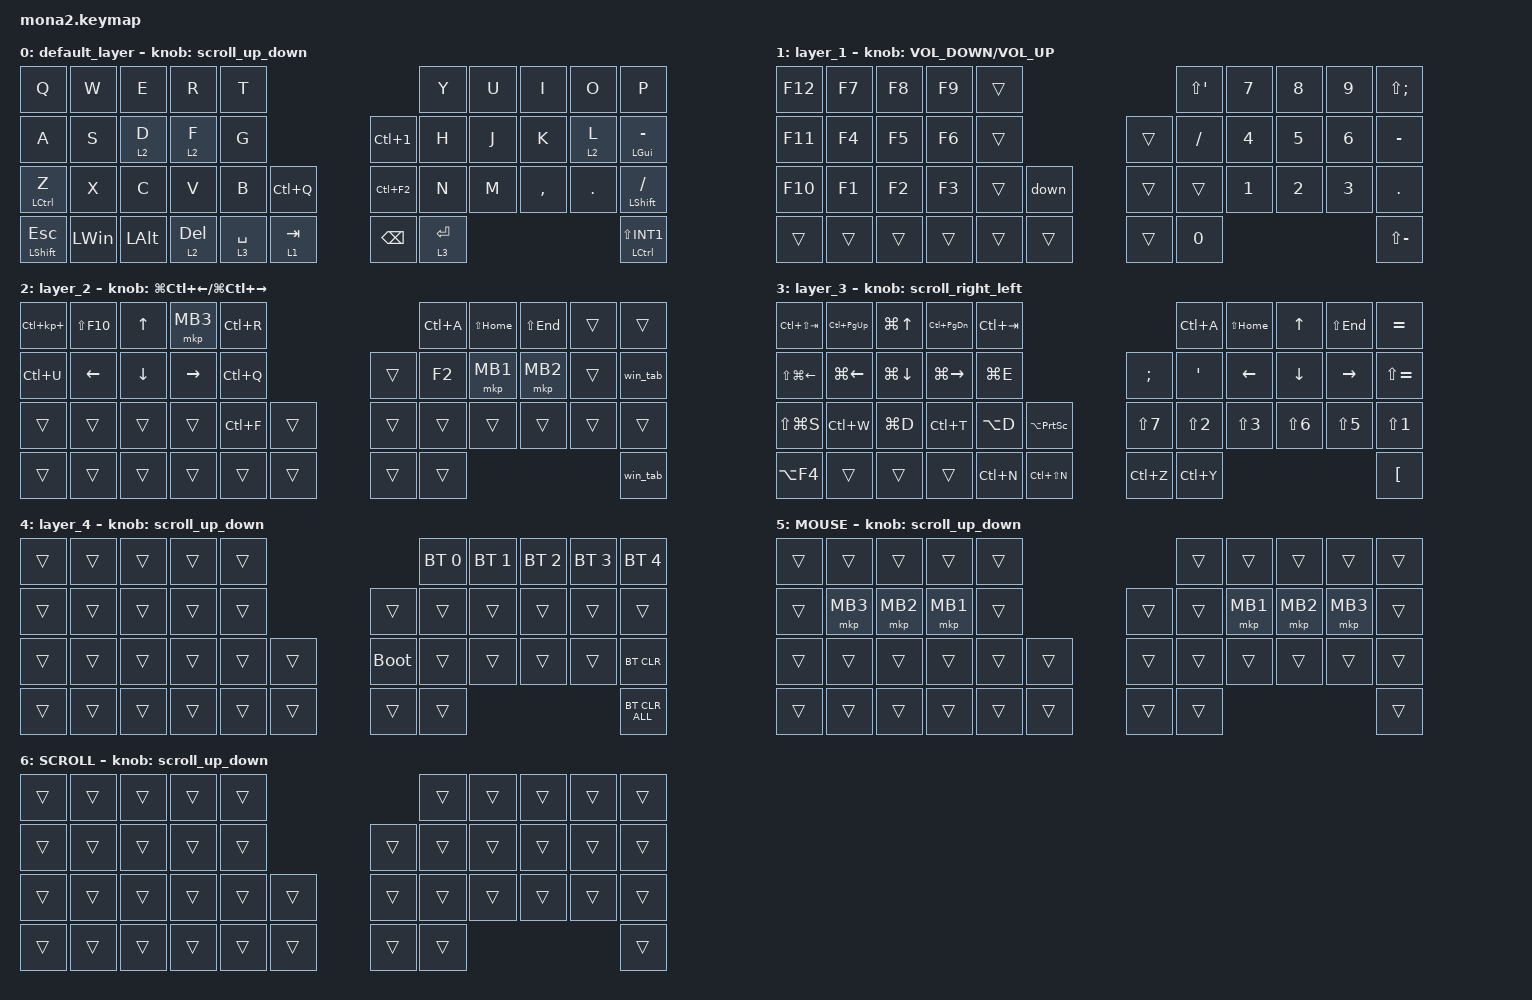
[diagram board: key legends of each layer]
#include <input/processors.dtsi>
#include <dt-bindings/zmk/input_transform.h>
#include <zephyr/dt-bindings/input/input-event-codes.h>
#include <behaviors.dtsi>
#include <dt-bindings/zmk/bt.h>
#include <dt-bindings/zmk/keys.h>
#include <dt-bindings/zmk/pointing.h>

#define ZMK_POINTING_DEFAULT_SCRL_VAL 100
#define MOUSE 5
#define SCROLL 6

&mt {
    flavor = "balanced";
    quick-tap-ms = <0>;
};

&lt {
    quick-tap-ms = <300>;
    flavor = "balanced";
};

/ {
    combos {
        compatible = "zmk,combos";

        layer4_ESC {
            bindings = <&lt 4 ESC>;
            key-positions = <39 38>;
        };

        tab {
            bindings = <&kp LEFT_ALT>;
            key-positions = <11 12>;
        };

        jp {
            bindings = <&kp LANG1>;
            key-positions = <17 18>;
            layers = <3>;
        };

        US {
            bindings = <&kp LANGUAGE_2>;
            key-positions = <18 19>;
            layers = <3>;
        };

        CAP {
            bindings = <&kp LS(CAPSLOCK)>;
            key-positions = <17 19>;
            layers = <3>;
        };

        home {
            bindings = <&kp HOME>;
            key-positions = <6 7>;
        };

        end {
            bindings = <&kp END>;
            key-positions = <7 8>;
        };

        esc {
            bindings = <&kp LC(LS(ESCAPE))>;
            key-positions = <1 2 3>;
        };

        win {
            bindings = <&kp LEFT_WIN>;
            key-positions = <12 13>;
        };

        page_down {
            bindings = <&kp PAGE_DOWN>;
            key-positions = <2 3>;
        };

        page_up {
            bindings = <&kp PAGE_UP>;
            key-positions = <2 1>;
        };

        cm {
            bindings = <&mkp MB3>;
            key-positions = <17 19>;
        };

        alt_tab {
            bindings = <&alt_tab>;
            key-positions = <18 17>;
            layers = <2>;
        };
    };

    macros {
        to_layer_0: to_layer_0 {
            compatible = "zmk,behavior-macro-one-param";
            #binding-cells = <1>;
            bindings = <&to 0 &macro_param_1to1 &kp MACRO_PLACEHOLDER>;
            label = "TO_LAYER_0";
        };

        down: down {
            compatible = "zmk,behavior-macro";
            #binding-cells = <0>;
            bindings =
                <&kp LG(X) &kp U &kp U &kp U>,
                <&macro_wait_time 1>,
                <&kp U>,
                <&macro_wait_time 1>,
                <&kp U>,
                <&macro_wait_time 1>,
                <&kp LG(X) &kp U &kp U>;

            label = "DOWN";
        };

        win_tab: win_tab {
            compatible = "zmk,behavior-macro";
            #binding-cells = <0>;
            bindings = <&kp LG(TAB)>, <&macro_pause_for_release>, <&mkp LCLK>;

            label = "WIN_TAB";
        };

        alt_tab: alt_tab {
            compatible = "zmk,behavior-macro";
            #binding-cells = <0>;
            bindings =
                <&macro_press>,
                <&kp LEFT_ALT>,
                <&macro_tap>,
                <&kp TAB>,
                <&macro_pause_for_release>,
                <&reries_alt>;

            label = "ALT_TAB";
        };

        reries_alt: reries_alt {
            compatible = "zmk,behavior-macro";
            #binding-cells = <0>;
            bindings =
                <&mkp LCLK>,
                <&macro_pause_for_release>,
                <&macro_release>,
                <&kp LEFT_ALT>;

            label = "RERIES_ALT";
        };
    };

    behaviors {
        lt_to_layer_0: lt_to_layer_0 {
            compatible = "zmk,behavior-hold-tap";
            label = "LAYER_TAP_TO_0";
            bindings = <&mo>, <&to_layer_0>;

            #binding-cells = <2>;
            tapping-term-ms = <200>;
        };

        scroll_up_down: mouse_wheel_up_down {
            compatible = "zmk,behavior-sensor-rotate";
            #sensor-binding-cells = <0>;
            bindings = <&msc SCRL_DOWN>, <&msc SCRL_UP>;

            tap-ms = <20>;
        };

        scroll_right_left: mouse_wheel_right_left {
            compatible = "zmk,behavior-sensor-rotate";
            #sensor-binding-cells = <0>;
            bindings = <&msc SCRL_LEFT>, <&msc SCRL_RIGHT>;

            tap-ms = <20>;
        };
    };

    keymap {
        compatible = "zmk,keymap";

        default_layer {
            bindings = <
&kp Q                  &kp W         &kp E         &kp R      &kp T                                       &kp Y        &kp U  &kp I      &kp O    &kp P
&kp A                  &kp S         &lt 2 D       &lt 2 F    &kp G                     &kp LC(NUMBER_1)  &kp H        &kp J  &kp K      &lt 2 L  &mt LEFT_GUI MINUS
&mt LCTRL Z            &kp X         &kp C         &kp V      &kp B        &kp LC(Q)    &kp LC(F2)        &kp N        &kp M  &kp COMMA  &kp DOT  &mt LEFT_SHIFT SLASH
&mt LEFT_SHIFT ESCAPE  &kp LEFT_WIN  &kp LEFT_ALT  &lt 2 DEL  &lt 3 SPACE  &lt 1 TAB    &kp BACKSPACE     &lt 3 ENTER                             &mt LCTRL LS(INT1)
            >;

            sensor-bindings = <&scroll_up_down>;
        };

        layer_1 {
            bindings = <
&kp F12  &kp F7  &kp F8  &kp F9  &trans                    &kp LS(SQT)   &kp NUMBER_7  &kp NUMBER_8  &kp NUMBER_9  &kp LS(SEMI)
&kp F11  &kp F4  &kp F5  &kp F6  &trans            &trans  &kp SLASH     &kp NUMBER_4  &kp NUMBER_5  &kp NUMBER_6  &kp MINUS
&kp F10  &kp F1  &kp F2  &kp F3  &trans  &down     &trans  &trans        &kp NUMBER_1  &kp NUMBER_2  &kp NUMBER_3  &kp PERIOD
&trans   &trans  &trans  &trans  &trans  &trans    &trans  &kp NUMBER_0                                            &kp LS(MINUS)
            >;

            sensor-bindings = <&inc_dec_kp C_VOLUME_DOWN C_VOLUME_UP>;
        };

        layer_2 {
            bindings = <
&kp LC(KP_PLUS)  &kp LS(F10)  &kp UP_ARROW  &mkp MB3   &kp LC(R)                    &kp LC(A)  &kp LS(HOME)  &kp LS(END)  &trans  &trans
&kp LC(U)        &kp LEFT     &kp DOWN      &kp RIGHT  &kp LC(Q)            &trans  &kp F2     &mkp MB1      &mkp MB2     &trans  &win_tab
&trans           &trans       &trans        &trans     &kp LC(F)  &trans    &trans  &trans     &trans        &trans       &trans  &trans
&trans           &trans       &trans        &trans     &trans     &trans    &trans  &trans                                        &win_tab
            >;

            sensor-bindings = <&inc_dec_kp LG(LC(LEFT)) LG(LC(RIGHT))>;
        };

        layer_3 {
            bindings = <
&kp LC(LS(TAB))   &kp LC(PAGE_UP)     &kp LG(UP_ARROW)    &kp LC(PAGE_DOWN)  &kp LC(TAB)                                           &kp LC(A)         &kp LS(HOME)      &kp UP_ARROW      &kp LS(END)       &kp EQUAL
&kp LS(LG(LEFT))  &kp LG(LEFT_ARROW)  &kp LG(DOWN_ARROW)  &kp LG(RIGHT)      &kp LG(E)                           &kp SEMICOLON     &kp APOSTROPHE    &kp LEFT_ARROW    &kp DOWN_ARROW    &kp RIGHT_ARROW   &kp LS(EQUAL)
&kp LS(LG(S))     &kp LC(W)           &kp LG(D)           &kp LC(T)          &kp LA(D)    &kp LA(PRINTSCREEN)    &kp LS(NUMBER_7)  &kp LS(NUMBER_2)  &kp LS(NUMBER_3)  &kp LS(NUMBER_6)  &kp LS(NUMBER_5)  &kp LS(NUMBER_1)
&kp LA(F4)        &trans              &trans              &trans             &kp LC(N)    &kp LC(LS(N))          &kp LC(Z)         &kp LC(Y)                                                               &kp LEFT_BRACKET
            >;

            sensor-bindings = <&scroll_right_left>;
        };

        layer_4 {
            bindings = <
&trans  &trans  &trans  &trans  &trans                         &bt BT_SEL 0  &bt BT_SEL 1  &bt BT_SEL 2  &bt BT_SEL 3  &bt BT_SEL 4
&trans  &trans  &trans  &trans  &trans            &trans       &trans        &trans        &trans        &trans        &trans
&trans  &trans  &trans  &trans  &trans  &trans    &bootloader  &trans        &trans        &trans        &trans        &bt BT_CLR
&trans  &trans  &trans  &trans  &trans  &trans    &trans       &trans                                                  &bt BT_CLR_ALL
            >;

            sensor-bindings = <&scroll_up_down>;
        };

        MOUSE {
            bindings = <
&trans  &trans    &trans    &trans    &trans                    &trans  &trans    &trans    &trans    &trans
&trans  &mkp MB3  &mkp MB2  &mkp MB1  &trans            &trans  &trans  &mkp MB1  &mkp MB2  &mkp MB3  &trans
&trans  &trans    &trans    &trans    &trans  &trans    &trans  &trans  &trans    &trans    &trans    &trans
&trans  &trans    &trans    &trans    &trans  &trans    &trans  &trans                                &trans
            >;

            sensor-bindings = <&scroll_up_down>;
        };

        SCROLL {
            bindings = <
&trans  &trans  &trans  &trans  &trans                    &trans  &trans  &trans  &trans  &trans
&trans  &trans  &trans  &trans  &trans            &trans  &trans  &trans  &trans  &trans  &trans
&trans  &trans  &trans  &trans  &trans  &trans    &trans  &trans  &trans  &trans  &trans  &trans
&trans  &trans  &trans  &trans  &trans  &trans    &trans  &trans                          &trans
            >;

            sensor-bindings = <&scroll_up_down>;
        };
    };
};
